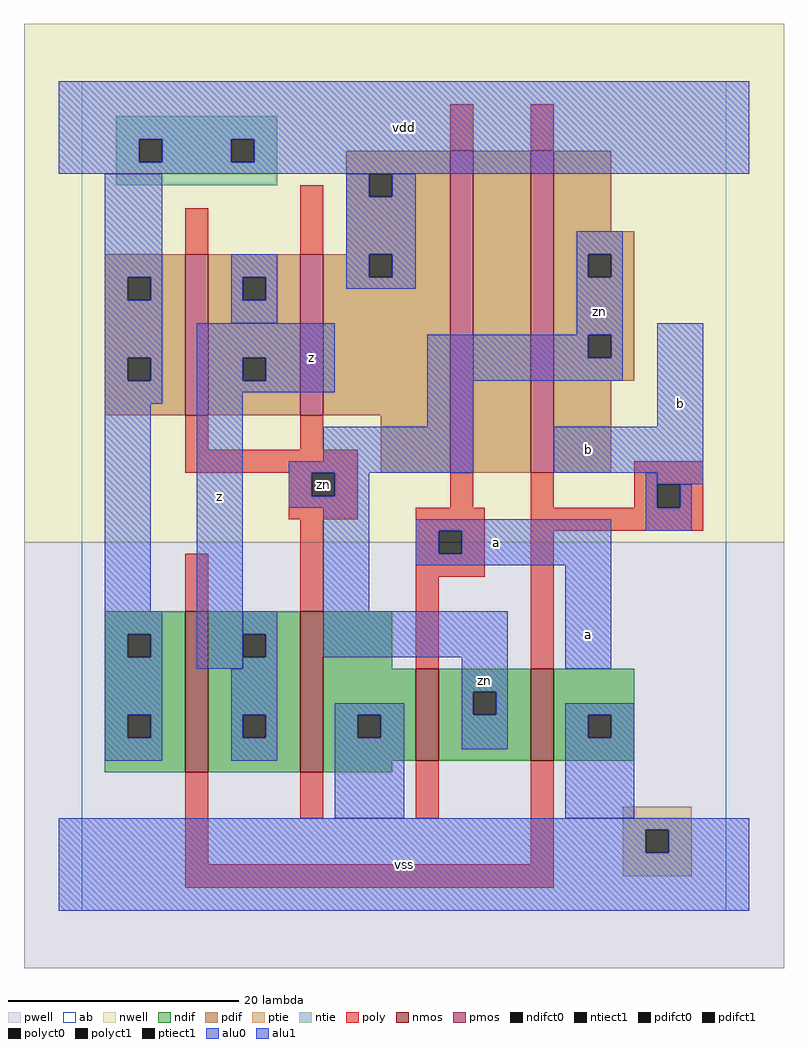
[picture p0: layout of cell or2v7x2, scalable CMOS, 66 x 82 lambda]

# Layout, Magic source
magic
tech scmos
<< ab >>
rect 0 0 56 72
<< nwell >>
rect -5 32 61 77
<< pwell >>
rect -5 -5 61 32
<< poly >>
rect 32 66 34 70
rect 39 66 41 70
rect 9 57 11 61
rect 19 57 21 63
rect 9 40 11 43
rect 19 40 21 43
rect 9 38 24 40
rect 18 36 20 38
rect 22 36 24 38
rect 18 34 24 36
rect 32 35 34 38
rect 39 35 41 38
rect 48 37 54 39
rect 48 35 50 37
rect 52 35 54 37
rect 9 26 11 31
rect 19 26 21 34
rect 29 33 35 35
rect 29 31 31 33
rect 33 31 35 33
rect 29 29 35 31
rect 39 33 54 35
rect 29 21 31 29
rect 39 21 41 33
rect 9 4 11 12
rect 19 8 21 12
rect 29 8 31 13
rect 39 4 41 13
rect 9 2 41 4
<< ndif >>
rect 2 24 9 26
rect 2 22 4 24
rect 6 22 9 24
rect 2 17 9 22
rect 2 15 4 17
rect 6 15 9 17
rect 2 12 9 15
rect 11 24 19 26
rect 11 22 14 24
rect 16 22 19 24
rect 11 17 19 22
rect 11 15 14 17
rect 16 15 19 17
rect 11 12 19 15
rect 21 21 27 26
rect 21 17 29 21
rect 21 15 24 17
rect 26 15 29 17
rect 21 13 29 15
rect 31 19 39 21
rect 31 17 34 19
rect 36 17 39 19
rect 31 13 39 17
rect 41 17 48 21
rect 41 15 44 17
rect 46 15 48 17
rect 41 13 48 15
rect 21 12 27 13
<< pdif >>
rect 23 64 32 66
rect 23 62 25 64
rect 27 62 32 64
rect 23 57 32 62
rect 2 55 9 57
rect 2 53 4 55
rect 6 53 9 55
rect 2 48 9 53
rect 2 46 4 48
rect 6 46 9 48
rect 2 43 9 46
rect 11 55 19 57
rect 11 53 14 55
rect 16 53 19 55
rect 11 48 19 53
rect 11 46 14 48
rect 16 46 19 48
rect 11 43 19 46
rect 21 55 25 57
rect 27 55 32 57
rect 21 43 32 55
rect 26 38 32 43
rect 34 38 39 66
rect 41 59 46 66
rect 41 57 48 59
rect 41 55 44 57
rect 46 55 48 57
rect 41 50 48 55
rect 41 48 44 50
rect 46 48 48 50
rect 41 46 48 48
rect 41 38 46 46
<< alu1 >>
rect -2 67 58 72
rect -2 65 5 67
rect 7 65 13 67
rect 15 65 58 67
rect -2 64 58 65
rect 10 48 22 51
rect 10 46 14 48
rect 16 46 22 48
rect 10 45 22 46
rect 10 21 14 45
rect 50 42 54 51
rect 41 38 54 42
rect 50 37 54 38
rect 29 33 46 34
rect 29 31 31 33
rect 33 31 46 33
rect 29 30 46 31
rect 42 21 46 30
rect -2 7 58 8
rect -2 5 49 7
rect 51 5 58 7
rect -2 0 58 5
<< ptie >>
rect 47 7 53 9
rect 47 5 49 7
rect 51 5 53 7
rect 47 3 53 5
<< ntie >>
rect 3 67 17 69
rect 3 65 5 67
rect 7 65 13 67
rect 15 65 17 67
rect 3 63 17 65
<< nmos >>
rect 9 12 11 26
rect 19 12 21 26
rect 29 13 31 21
rect 39 13 41 21
<< pmos >>
rect 9 43 11 57
rect 19 43 21 57
rect 32 38 34 66
rect 39 38 41 66
<< polyct0 >>
rect 20 36 22 38
rect 50 35 52 37
<< polyct1 >>
rect 31 31 33 33
<< ndifct0 >>
rect 4 22 6 24
rect 4 15 6 17
rect 14 22 16 24
rect 14 15 16 17
rect 24 15 26 17
rect 34 17 36 19
rect 44 15 46 17
<< ntiect1 >>
rect 5 65 7 67
rect 13 65 15 67
<< ptiect1 >>
rect 49 5 51 7
<< pdifct0 >>
rect 25 62 27 64
rect 4 53 6 55
rect 4 46 6 48
rect 14 53 16 55
rect 25 55 27 57
rect 44 55 46 57
rect 44 48 46 50
<< pdifct1 >>
rect 14 46 16 48
<< alu0 >>
rect 2 55 7 64
rect 23 62 25 64
rect 27 62 29 64
rect 23 57 29 62
rect 2 53 4 55
rect 6 53 7 55
rect 2 48 7 53
rect 13 55 17 57
rect 13 53 14 55
rect 16 53 17 55
rect 23 55 25 57
rect 27 55 29 57
rect 23 54 29 55
rect 43 57 47 59
rect 43 55 44 57
rect 46 55 47 57
rect 13 51 17 53
rect 2 46 4 48
rect 6 46 7 48
rect 2 44 7 46
rect 43 50 47 55
rect 30 48 44 50
rect 46 48 47 50
rect 30 46 47 48
rect 2 26 6 44
rect 2 24 7 26
rect 2 22 4 24
rect 6 22 7 24
rect 2 17 7 22
rect 30 42 34 46
rect 21 39 34 42
rect 18 38 34 39
rect 18 36 20 38
rect 22 36 25 38
rect 18 35 25 36
rect 21 26 25 35
rect 49 35 50 38
rect 52 35 53 37
rect 49 33 53 35
rect 14 24 17 26
rect 16 22 17 24
rect 21 22 37 26
rect 14 21 17 22
rect 2 15 4 17
rect 6 15 7 17
rect 2 13 7 15
rect 13 17 17 21
rect 33 19 37 22
rect 13 15 14 17
rect 16 15 17 17
rect 13 13 17 15
rect 22 17 28 18
rect 22 15 24 17
rect 26 15 28 17
rect 22 8 28 15
rect 33 17 34 19
rect 36 17 37 19
rect 33 14 37 17
rect 42 17 48 18
rect 42 15 44 17
rect 46 15 48 17
rect 42 8 48 15
<< labels >>
rlabel polyct0 21 37 21 37 6 zn
rlabel alu0 35 20 35 20 6 zn
rlabel alu0 45 52 45 52 6 zn
rlabel alu1 12 36 12 36 6 z
rlabel alu1 20 48 20 48 6 z
rlabel alu1 28 4 28 4 6 vss
rlabel alu1 36 32 36 32 6 a
rlabel alu1 28 68 28 68 6 vdd
rlabel alu1 44 24 44 24 6 a
rlabel alu1 44 40 44 40 6 b
rlabel alu1 52 44 52 44 6 b
<< end >>
